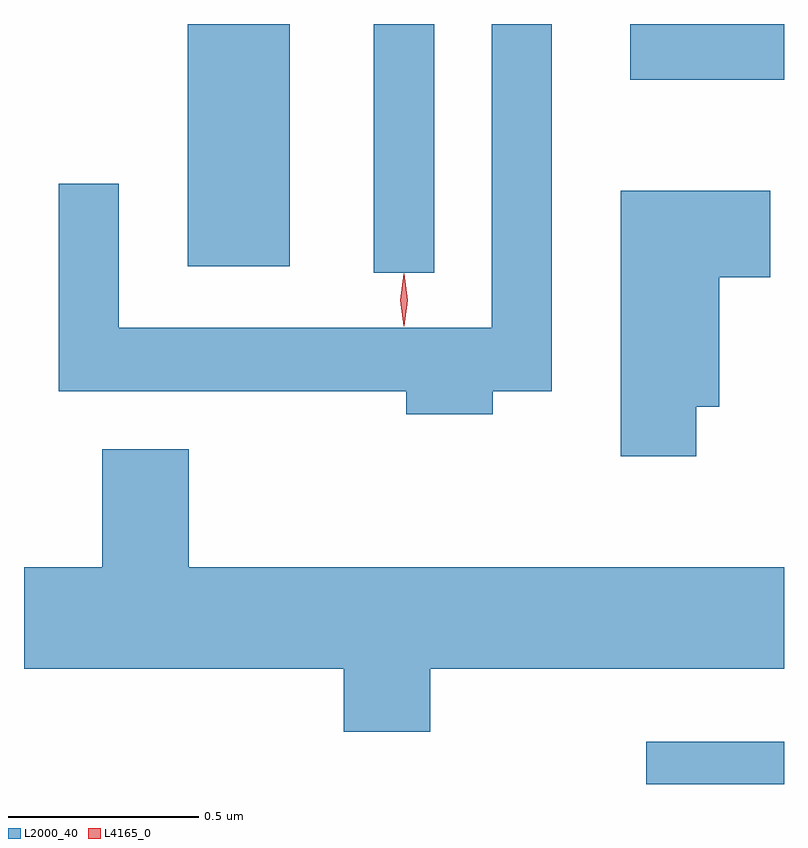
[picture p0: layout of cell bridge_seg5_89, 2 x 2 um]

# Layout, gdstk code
import gdstk
lib = gdstk.Library(unit=1e-6, precision=1e-09)
def R(c, l, rs):  # rectangles x0, y0, x1, y1
    for r in rs: c.add(gdstk.rectangle(r[:2], r[2:], *l))
def P(c, l, *ps):  # polygons
    for p in ps: c.add(gdstk.Polygon(p, *l))
L2000_40 = (2000, 40)
L4165_0 = (4165, 0)

bridge_seg5_89 = lib.new_cell('bridge_seg5_89')
R(bridge_seg5_89, L2000_40, [(1227.683,1480.913,1228.045,1481.024), (1226.966,1482.258,1227.124,1482.913), (1226.476,1482.276,1226.744,1482.913), (1227.641,1482.766,1228.045,1482.913)])
P(bridge_seg5_89, L2000_40, [(1227.279,1481.946),(1227.434,1481.946),(1227.434,1482.913),(1227.276,1482.913),(1227.276,1482.114),(1226.294,1482.114),(1226.294,1482.493),(1226.136,1482.493),(1226.136,1481.946),(1227.051,1481.946),(1227.051,1481.886),(1227.279,1481.886)],
  [(1227.814,1481.906),(1227.874,1481.906),(1227.874,1482.246),(1228.009,1482.246),(1228.009,1482.474),(1227.616,1482.474),(1227.616,1481.776),(1227.814,1481.776)],
  [(1227.114,1481.216),(1228.045,1481.216),(1228.045,1481.484),(1226.479,1481.484),(1226.479,1481.794),(1226.251,1481.794),(1226.251,1481.484),(1226.045,1481.484),(1226.045,1481.216),(1226.886,1481.216),(1226.886,1481.051),(1227.114,1481.051)])
P(bridge_seg5_89, L4165_0, [(1227.045,1482.119),(1227.044,1482.12),(1227.035,1482.186),(1227.044,1482.252),(1227.045,1482.253),(1227.045,1482.252),(1227.055,1482.186),(1227.045,1482.12)],
  [(1227.044,1482.117),(1227.035,1482.186),(1227.044,1482.256),(1227.045,1482.256),(1227.045,1482.256),(1227.055,1482.186),(1227.045,1482.117),(1227.045,1482.117)])

lib.write_gds('bridge_seg5_89.gds')
